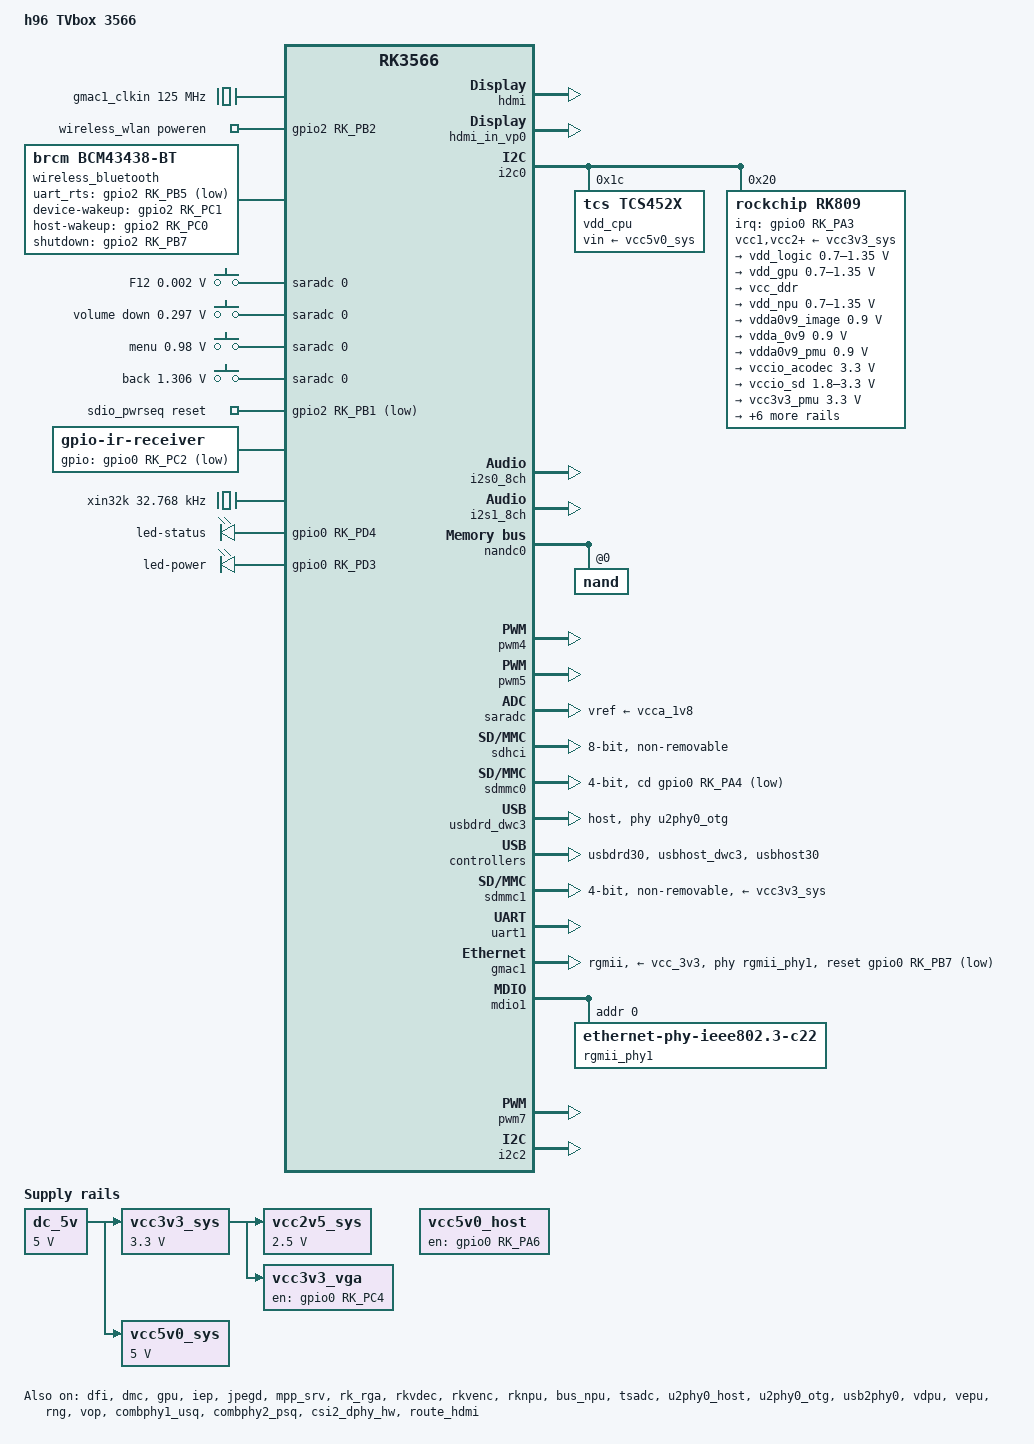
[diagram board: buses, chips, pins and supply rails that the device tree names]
// SPDX-License-Identifier: (GPL-2.0+ OR MIT)
/*
 * Copyright (c) 2020 Rockchip Electronics Co., Ltd.
 *
 */

 /dts-v1/;

#include <dt-bindings/gpio/gpio.h>
#include <dt-bindings/pinctrl/rockchip.h>
#include <dt-bindings/display/rockchip_vop.h>
#include <dt-bindings/gpio/gpio.h>
#include <dt-bindings/pwm/pwm.h>
#include <dt-bindings/pinctrl/rockchip.h>
#include <dt-bindings/input/rk-input.h>
#include <dt-bindings/display/drm_mipi_dsi.h>
#include <dt-bindings/sensor-dev.h>
#include "rk3568.dtsi"

/ {
	model = "h96 TVbox 3566";
	compatible = "h96-TVbox,rk3566", "rockchip,rk3566";

	aliases {
		mmc0 = &sdhci;
		mmc1 = &sdmmc0;
		mmc2 = &sdmmc1;
	};

	gmac1_clkin: external-gmac1-clock {
		compatible = "fixed-clock";
		clock-frequency = <125000000>;
		clock-output-names = "gmac1_clkin";
		#clock-cells = <0>;
	};

	/delete-node/ vcc3v3-lcd0-n;
	/delete-node/ vcc3v3-lcd1-n;

	chosen: chosen {
		bootargs = "earlycon=uart8250,mmio32,0xfe660000 console=ttyFIQ0";
	};

	debug: debug@fd904000 {
		compatible = "rockchip,debug";
		reg = <0x0 0xfd904000 0x0 0x1000>,
			<0x0 0xfd905000 0x0 0x1000>,
			<0x0 0xfd906000 0x0 0x1000>,
			<0x0 0xfd907000 0x0 0x1000>;
	};

	cspmu: cspmu@fd90c000 {
		compatible = "rockchip,cspmu";
		reg = <0x0 0xfd90c000 0x0 0x1000>,
			<0x0 0xfd90d000 0x0 0x1000>,
			<0x0 0xfd90e000 0x0 0x1000>,
			<0x0 0xfd90f000 0x0 0x1000>;
	};

	wireless_wlan: wireless-wlan {
		compatible = "wlan-platdata";
		rockchip,grf = <&grf>;
		clocks = <&rk809 1>;
		clock-names = "ext_clock";
		wifi_chip_type = "ap6398s";
		pinctrl-names = "default";
		WIFI,poweren_gpio = <&gpio2 RK_PB2 GPIO_ACTIVE_HIGH>;
		status = "okay";
	};

	wireless_bluetooth: wireless-bluetooth {
		compatible = "brcm,bcm43438-bt";
		clocks = <&rk809 1>;
		clock-names = "ext_clock";
		//wifi-bt-power-toggle;
		uart_rts_gpios = <&gpio2 RK_PB5 GPIO_ACTIVE_LOW>;
		pinctrl-names = "default", "rts_gpio";
		max-speed = <3000000>;
		pinctrl-0 = <&uart1m0_rtsn &bt_host_wake_l &bt_wake_l &bt_enable_h>;
		pinctrl-1 = <&uart1_rts_gpio>;
		device-wakeup-gpios = <&gpio2 RK_PC1 GPIO_ACTIVE_HIGH>;
		host-wakeup-gpios = <&gpio2 RK_PC0 GPIO_ACTIVE_HIGH>;
		shutdown-gpios = <&gpio2 RK_PB7 GPIO_ACTIVE_HIGH>;
		status = "okay";
	};

	openvfd {
		compatible = "open,vfd";
		dev_name = "openvfd";
		status = "okay";
	};

	bt_sco: bt-sco {
		compatible = "delta,dfbmcs320";
		#sound-dai-cells = <1>;
		status = "disabled";
	};

	bt_sound: bt-sound {
		status = "disabled";
		compatible = "simple-audio-card";
		simple-audio-card,format = "dsp_a";
		simple-audio-card,bitclock-inversion;
		simple-audio-card,mclk-fs = <256>;
		simple-audio-card,name = "rockchip,bt";
		simple-audio-card,cpu {
			sound-dai = <&i2s2_2ch>;
		};
		simple-audio-card,codec {
			sound-dai = <&bt_sco 1>;
		};
	};

	thermal_zones: thermal-zones {
		soc_thermal: soc-thermal {
			polling-delay-passive = <20>; /* milliseconds */
			polling-delay = <1000>; /* milliseconds */
			sustainable-power = <905>; /* milliwatts */

			thermal-sensors = <&tsadc 0>;
			trips {
				threshold: trip-point-0 {
					temperature = <75000>;
					hysteresis = <2000>;
					type = "passive";
				};
				target: trip-point-1 {
					temperature = <85000>;
					hysteresis = <2000>;
					type = "passive";
				};
				soc_crit: soc-crit {
					/* millicelsius */
					temperature = <115000>;
					/* millicelsius */
					hysteresis = <2000>;
					type = "critical";
				};
			};
			cooling-maps {
				map0 {
					trip = <&target>;
					cooling-device = <&cpu0 THERMAL_NO_LIMIT THERMAL_NO_LIMIT>;
					contribution = <1024>;
				};
				map1 {
					trip = <&target>;
					cooling-device = <&gpu THERMAL_NO_LIMIT THERMAL_NO_LIMIT>;
					contribution = <1024>;
				};
			};
		};

		gpu_thermal: gpu-thermal {
			polling-delay-passive = <20>; /* milliseconds */
			polling-delay = <1000>; /* milliseconds */

			thermal-sensors = <&tsadc 1>;
		};
	};

	hdmi_sound: hdmi-sound {
	compatible = "simple-audio-card";
	simple-audio-card,format = "i2s";
	simple-audio-card,mclk-fs = <128>;
	simple-audio-card,name = "rockchip,hdmi";
	status = "okay";
	rockchip,jack-det;

	simple-audio-card,cpu {
			sound-dai = <&i2s0_8ch>;
		};
		simple-audio-card,codec {
			sound-dai = <&hdmi>;
		};
	};

	dc_5v: dc-5v {
		compatible = "regulator-fixed";
		regulator-name = "dc_5v";
		regulator-always-on;
		regulator-boot-on;
		regulator-min-microvolt = <5000000>;
		regulator-max-microvolt = <5000000>;
	};
	

	rk809_sound: rk809-sound {
		status = "okay";
		compatible = "rockchip,multicodecs-card";
		rockchip,card-name = "rockchip-rk809";
		rockchip,format = "i2s";
		rockchip,mclk-fs = <256>;
		rockchip,cpu = <&i2s1_8ch>;
		rockchip,codec = <&rk809_codec>;
	};

	spdif-sound {
		status = "okay";
		compatible = "simple-audio-card";
		simple-audio-card,name = "ROCKCHIP,SPDIF";
		simple-audio-card,cpu {
				sound-dai = <&spdif_8ch>;
		};
		simple-audio-card,codec {
				sound-dai = <&spdif_out>;
		};
	};

	spdif_out: spdif-out {
			status = "okay";
			compatible = "linux,spdif-dit";
			#sound-dai-cells = <0>;
	};

	vcc3v3_sys: vcc3v3-sys {
		compatible = "regulator-fixed";
		regulator-name = "vcc3v3_sys";
		regulator-always-on;
		regulator-boot-on;
		regulator-min-microvolt = <3300000>;
		regulator-max-microvolt = <3300000>;
		vin-supply = <&dc_5v>;
	};

	vcc5v0_sys: vcc5v0-sys {
		compatible = "regulator-fixed";
		regulator-name = "vcc5v0_sys";
		regulator-always-on;
		regulator-boot-on;
		regulator-min-microvolt = <5000000>;
		regulator-max-microvolt = <5000000>;
		vin-supply = <&dc_5v>;
	};

	vcc5v0_host: vcc5v0-host-regulator {
		compatible = "regulator-fixed";
		enable-active-high;
		gpio = <&gpio0 RK_PA6 GPIO_ACTIVE_HIGH>;
		pinctrl-names = "default";
		pinctrl-0 = <&vcc5v0_host_vbus_en>;
		regulator-name = "vcc5v0_host";
		regulator-always-on;
		regulator-boot-on;
	};

	vcc5v0_otg: vcc5v0-otg-regulator {
		compatible = "regulator-fixed";
		enable-active-high;
		gpio = <&gpio0 RK_PA5 GPIO_ACTIVE_HIGH>;
		pinctrl-names = "default";
		pinctrl-0 = <&vcc5v0_otg_en>;
		regulator-name = "vcc5v0_otg";
	};

	adc_keys: adc-keys {
		compatible = "adc-keys";
		io-channels = <&saradc 0>;
		io-channel-names = "buttons";
		keyup-threshold-microvolt = <1800000>;
		poll-interval = <100>;

		recovery-key {
			label = "F12";
			linux,code = <KEY_F12>;
			press-threshold-microvolt = <1750>;
		};

		vol-down-key {
			label = "volume down";
			linux,code = <KEY_VOLUMEDOWN>;
			press-threshold-microvolt = <297500>;
		};

		menu-key {
			label = "menu";
			linux,code = <KEY_MENU>;
			press-threshold-microvolt = <980000>;
		};

		back-key {
			label = "back";
			linux,code = <KEY_BACK>;
			press-threshold-microvolt = <1305500>;
		};
	};

	vcc2v5_sys: vcc2v5-ddr {
		compatible = "regulator-fixed";
		regulator-name = "vcc2v5_sys";
		regulator-always-on;
		regulator-boot-on;
		regulator-min-microvolt = <2500000>;
		regulator-max-microvolt = <2500000>;
		vin-supply = <&vcc3v3_sys>;
	};

	vcc3v3_vga: vcc3v3-vga {
		compatible = "regulator-fixed";
		regulator-name = "vcc3v3_vga";
		regulator-always-on;
		regulator-boot-on;
		gpio = <&gpio0 RK_PC4 GPIO_ACTIVE_HIGH>;
		enable-active-high;
		vin-supply = <&vcc3v3_sys>;
	};

	sdio_pwrseq: sdio-pwrseq {
		compatible = "mmc-pwrseq-simple";
		clocks = <&rk809 1>;
		clock-names = "ext_clock";
		pinctrl-names = "default";
		pinctrl-0 = <&wifi_enable_h>;
		/*
			* On the module itself this is one of these (depending
			* on the actual card populated):
			* - SDIO_RESET_L_WL_REG_ON
			* - PDN (power down when low)
		*/
		post-power-on-delay-ms = <200>;
		reset-gpios = <&gpio2 RK_PB1 GPIO_ACTIVE_LOW>;
		status = "okay";
	};

	ir-receiver {
		compatible = "gpio-ir-receiver";
		gpios = <&gpio0 RK_PC2 GPIO_ACTIVE_LOW>;
		pinctrl-names = "default";
		pinctrl-0 = <&ir_receiver_pin>;
	};

	xin32k: xin32k {
		compatible = "fixed-clock";
		clock-frequency = <32768>;
		clock-output-names = "xin32k";
		#clock-cells = <0>;
	};

	flash_led: flash-led {
		compatible = "led,rgb13h";
		label = "pwm-flash-led";
		led-max-microamp = <20000>;
		flash-max-microamp = <20000>;
		flash-max-timeout-us = <1000000>;
		pwms = <&pwm11 0 25000 0>;
		rockchip,camera-module-index = <1>;
		rockchip,camera-module-facing = "front";
		status = "disabled";
	};

	sd_vcc3v3_power: sd-vcc3v3-power {
		status = "disabled";
		compatible = "regulator-fixed";
		enable-active-high;
		gpio = <&gpio0 RK_PA5 GPIO_ACTIVE_HIGH>;
		pinctrl-names = "default";
		pinctrl-0 = <&sd_vcc3v3_power_en>;
		regulator-name = "sd_vcc3v3_power_en";
		regulator-min-microvolt = <3300000>;
		regulator-max-microvolt = <3300000>;
		regulator-always-on;
		regulator-boot-on;
		regulator-state-mem {
			regulator-on-in-suspend;
		};
	};

	leds {
		compatible = "gpio-leds";

		led_status: led-status {
			label = "led-status";
			gpios = <&gpio0 RK_PD4 GPIO_ACTIVE_HIGH>;
			linux,default-trigger = "heartbeat";
			pinctrl-names = "default";
			pinctrl-0 = <&led_status_enable_h>;
		};

		led_power: led-power {
			label = "led-power";
			gpios = <&gpio0 RK_PD3 GPIO_ACTIVE_HIGH>;
			linux,default-trigger = "default-on";
			pinctrl-names = "default";
			pinctrl-0 = <&led_power_enable_h>;
		};	
	};

	test-power {
		status = "okay";
	};
};

&cpu0 {
	cpu-supply = <&vdd_cpu>;
};

&dfi {
	status = "okay";
};

&dmc {
	center-supply = <&vdd_logic>;
	auto-freq-en = <0>;
	status = "okay";
};

&gpu {
	clock-names = "gpu", "bus";
	interrupt-names = "gpu", "mmu", "job";
	mali-supply = <&vdd_gpu>;
	status = "okay";
};

&gpu_opp_table {
	/delete-node/ opp-200000000;
	/delete-node/ opp-300000000;
	/delete-node/ opp-400000000;
	/delete-node/ opp-600000000;
	/delete-node/ opp-700000000;
	/delete-node/ opp-j-600000000;
	/delete-node/ opp-m-800000000;
};

&cpu0_opp_table {
	/delete-node/ opp-408000000;
	/delete-node/ opp-600000000;
	/delete-node/ opp-816000000;
	/delete-node/ opp-1008000000;
	/delete-node/ opp-1104000000;
	/delete-node/ opp-1416000000;
	/delete-node/ opp-1608000000;
	/delete-node/ opp-j-1008000000;
	/delete-node/ opp-j-1416000000;
	/delete-node/ opp-m-1608000000;
};

&hdmi {
	status = "okay";
};

&hdmi_in_vp0 {
	status = "okay";
};

&hdmi_in_vp1 {
	status = "disabled";
};

&hdmi_sound {
	status = "okay";
	/delete-property/ rockchip,jack-det;
};

&i2c0 {
	status = "okay";

	vdd_cpu: tcs4525@1c {
		compatible = "tcs,tcs452x";
		reg = <0x1c>;
		vin-supply = <&vcc5v0_sys>;
		regulator-compatible = "fan53555-reg";
		regulator-name = "vdd_cpu";
		regulator-min-microvolt = <700000>;
		regulator-max-microvolt = <1200000>;
		regulator-ramp-delay = <2300>;
		fcs,suspend-voltage-selector = <1>;
		regulator-boot-on;
		regulator-always-on;
		regulator-state-mem {
			regulator-on-in-suspend;
		};
	};

	rk809: pmic@20 {
		compatible = "rockchip,rk809";
		reg = <0x20>;
		interrupt-parent = <&gpio0>;
		interrupts = <RK_PA3 IRQ_TYPE_LEVEL_LOW>;
		pinctrl-names = "default";
		pinctrl-0 = <&pmic_int_l>;
		rockchip,system-power-controller;
		wakeup-source;
		#clock-cells = <1>;
		clock-output-names = "rk808-clkout1", "rk808-clkout2";
		not-save-power-en = <1>;

		vcc1-supply = <&vcc3v3_sys>;
		vcc2-supply = <&vcc3v3_sys>;
		vcc3-supply = <&vcc3v3_sys>;
		vcc4-supply = <&vcc3v3_sys>;
		vcc5-supply = <&vcc3v3_sys>;
		vcc6-supply = <&vcc3v3_sys>;
		vcc7-supply = <&vcc3v3_sys>;
		vcc8-supply = <&vcc3v3_sys>;
		vcc9-supply = <&vcc3v3_sys>;

		pwrkey {
			status = "okay";
		};

		pinctrl_rk8xx: pinctrl_rk8xx {
			gpio-controller;
			#gpio-cells = <2>;

			rk817_slppin_null: rk817_slppin_null {
				pins = "gpio_slp";
				function = "pin_fun0";
			};

			rk817_slppin_slp: rk817_slppin_slp {
				pins = "gpio_slp";
				function = "pin_fun1";
			};

			rk817_slppin_pwrdn: rk817_slppin_pwrdn {
				pins = "gpio_slp";
				function = "pin_fun2";
			};

			rk817_slppin_rst: rk817_slppin_rst {
				pins = "gpio_slp";
				function = "pin_fun3";
			};
		};

		regulators {
			vdd_logic: DCDC_REG1 {
				regulator-always-on;
				regulator-boot-on;
				regulator-min-microvolt = <700000>;
				regulator-max-microvolt = <1350000>;
				regulator-init-microvolt = <950000>;
				regulator-ramp-delay = <6001>;
				regulator-initial-mode = <0x2>;
				regulator-name = "vdd_logic";
				regulator-state-mem {
					regulator-off-in-suspend;
				};
			};

			vdd_gpu: DCDC_REG2 {
				regulator-always-on;
				regulator-boot-on;
				regulator-min-microvolt = <700000>;
				regulator-max-microvolt = <1350000>;
				regulator-init-microvolt = <900000>;
				regulator-ramp-delay = <6001>;
				regulator-initial-mode = <0x2>;
				regulator-name = "vdd_gpu";
				regulator-state-mem {
					regulator-off-in-suspend;
				};
			};

			vcc_ddr: DCDC_REG6 {
				regulator-always-on;
				regulator-boot-on;
				regulator-initial-mode = <0x2>;
				regulator-name = "vcc_ddr";
				regulator-state-mem {
					regulator-off-in-suspend;
				};
			};

			vdd_npu: DCDC_REG4 {
				regulator-always-on;
				regulator-boot-on;
				regulator-min-microvolt = <700000>;
				regulator-max-microvolt = <1350000>;
				regulator-init-microvolt = <900000>;
				regulator-ramp-delay = <6001>;
				regulator-initial-mode = <0x2>;
				regulator-name = "vdd_npu";
				regulator-state-mem {
					regulator-off-in-suspend;
				};
			};

			vdda0v9_image: LDO_REG1 {
				regulator-boot-on;
				regulator-always-on;
				regulator-min-microvolt = <900000>;
				regulator-max-microvolt = <900000>;
				regulator-name = "vdda0v9_image";
				regulator-state-mem {
					regulator-off-in-suspend;
				};
			};

			vdda_0v9: LDO_REG2 {
				regulator-always-on;
				regulator-boot-on;
				regulator-min-microvolt = <900000>;
				regulator-max-microvolt = <900000>;
				regulator-name = "vdda_0v9";
				regulator-state-mem {
					regulator-off-in-suspend;
				};
			};

			vdda0v9_pmu: LDO_REG3 {
				regulator-always-on;
				regulator-boot-on;
				regulator-min-microvolt = <900000>;
				regulator-max-microvolt = <900000>;
				regulator-name = "vdda0v9_pmu";
				regulator-state-mem {
					regulator-off-in-suspend;
					regulator-suspend-microvolt = <900000>;
				};
			};

			vccio_acodec: LDO_REG4 {
				regulator-always-on;
				regulator-boot-on;
				regulator-min-microvolt = <3300000>;
				regulator-max-microvolt = <3300000>;
				regulator-name = "vccio_acodec";
				regulator-state-mem {
					rregulator-off-in-suspend;
				};
			};

			vccio_sd: LDO_REG5 {
				regulator-always-on;
				regulator-boot-on;
				regulator-min-microvolt = <1800000>;
				regulator-max-microvolt = <3300000>;
				regulator-name = "vccio_sd";
				regulator-state-mem {
					regulator-off-in-suspend;
				};
			};

			vcc3v3_pmu: LDO_REG6 {
				regulator-always-on;
				regulator-boot-on;
				regulator-min-microvolt = <3300000>;
				regulator-max-microvolt = <3300000>;
				regulator-name = "vcc3v3_pmu";
				regulator-state-mem {
					regulator-off-in-suspend;
					regulator-suspend-microvolt = <3300000>;
				};
			};

			vcca_1v8: LDO_REG7 {
				regulator-always-on;
				regulator-boot-on;
				regulator-min-microvolt = <1800000>;
				regulator-max-microvolt = <1800000>;
				regulator-name = "vcca_1v8";
				regulator-state-mem {
					regulator-off-in-suspend;
				};
			};

			vcca1v8_pmu: LDO_REG8 {
				regulator-always-on;
				regulator-boot-on;
				regulator-min-microvolt = <1800000>;
				regulator-max-microvolt = <1800000>;
				regulator-name = "vcca1v8_pmu";
				regulator-state-mem {
					regulator-off-in-suspend;
					regulator-suspend-microvolt = <1800000>;
				};
			};

			vcca1v8_image: LDO_REG9 {
				regulator-always-on;
				regulator-boot-on;
				regulator-min-microvolt = <1800000>;
				regulator-max-microvolt = <1800000>;
				regulator-name = "vcca1v8_image";
				regulator-state-mem {
					regulator-off-in-suspend;
				};
			};

			vcc_1v8: DCDC_REG5 {
				regulator-always-on;
				regulator-boot-on;
				regulator-min-microvolt = <1800000>;
				regulator-max-microvolt = <1800000>;
				regulator-name = "vcc_1v8";
				regulator-state-mem {
					regulator-off-in-suspend;
				};
			};

			vcc_3v3: SWITCH_REG1 {
				regulator-always-on;
				regulator-boot-on;
				regulator-name = "vcc_3v3";
				regulator-state-mem {
					regulator-off-in-suspend;
				};
			};

			vcc3v3_sd: SWITCH_REG2 {
				regulator-always-on;
				regulator-boot-on;
				regulator-name = "vcc3v3_sd";
				regulator-state-mem {
					regulator-off-in-suspend;
				};
			};
		};

		rk809_codec: codec {
			#sound-dai-cells = <0>;
			compatible = "rockchip,rk809-codec", "rockchip,rk817-codec";
			clocks = <&cru I2S1_MCLKOUT>;
			clock-names = "mclk";
			assigned-clocks = <&cru I2S1_MCLKOUT>, <&cru I2S1_MCLK_TX_IOE>;
			assigned-clock-rates = <12288000>;
			assigned-clock-parents = <&cru I2S1_MCLKOUT_TX>, <&cru I2S1_MCLKOUT_TX>;
			pinctrl-names = "default","spk_gpio";
			pinctrl-0 = <&i2s1m0_mclk>;
			hp-volume = <20>;
			spk-volume = <3>;
			mic-in-differential;
			capture-volume = <0>;
			io-channels = <&saradc 4>;
			hp-det-adc-value = <1000>;
			status = "okay";
		};
	};
};

&i2s0_8ch {
	status = "okay";
};

&i2s1_8ch {
	status = "okay";
	rockchip,clk-trcm = <1>;
	pinctrl-names = "default";
	pinctrl-0 = <&i2s1m0_sclktx
				&i2s1m0_lrcktx
				&i2s1m0_sdi0
				&i2s1m0_sdo0>;
};

&iep {
	status = "okay";
};

&iep_mmu {
	status = "okay";
};

&jpegd {
	status = "okay";
};

&jpegd_mmu {
	status = "okay";
};

&mpp_srv {
	status = "okay";
};

&nandc0 {
	#address-cells = <1>;
	#size-cells = <0>;
	status = "okay";

	nand@0 {
		reg = <0>;
		nand-bus-width = <8>;
		nand-ecc-mode = "hw";
		nand-ecc-strength = <16>;
		nand-ecc-step-size = <1024>;
	};
};

&pmu_io_domains {
	pmuio1-supply = <&vcc3v3_pmu>;
	pmuio2-supply = <&vcc3v3_pmu>;
	vccio1-supply = <&vccio_acodec>;
	vccio2-supply = <&vcc_1v8>;
	vccio3-supply = <&vccio_sd>;
	vccio4-supply = <&vcc_1v8>;
	vccio5-supply = <&vcc_3v3>;
	vccio6-supply = <&vcc_1v8>;
	vccio7-supply = <&vcc_3v3>;
	status = "okay";
};

&pwm4 {
	status = "okay";
};

&pwm5 {
	status = "okay";
};

&rk_rga {
	status = "okay";
};

&rk_rga {
	status = "okay";
	rga-supply = <&vdd_logic>;
};

&rkvdec {
	rockchip,disable-auto-freq;
	assigned-clock-rates = <396000000>, <396000000>, <396000000>, <600000000>;
	status = "okay";
};

&rkvdec_mmu {
	status = "okay";
};

&rockchip_suspend {
	status = "okay";
};

&rkvenc {
	venc-supply = <&vdd_logic>;
	status = "okay";
};

&rkvenc_mmu {
	status = "disabled";
};

&rknpu {
	rknpu-supply = <&vdd_npu>;
	mem-supply = <&vdd_logic>;
	status = "okay";
};

&rknpu_mmu {
	status = "okay";
};

&bus_npu {
	bus-supply = <&vdd_logic>;
	pvtm-supply = <&vdd_cpu>;
	status = "okay";
};

&saradc {
	status = "okay";
	vref-supply = <&vcca_1v8>;
};

&sdhci {
	bus-width = <8>;
	no-sdio;
	no-sd;
	non-removable;
	max-frequency = <200000000>;
	full-pwr-cycle-in-suspend;
	status = "okay";
};

&sdmmc0 {
	max-frequency = <150000000>;
	no-sdio;
	no-mmc;
	cd-gpios = <&gpio0 RK_PA4 GPIO_ACTIVE_LOW>;
	bus-width = <4>;
	cap-mmc-highspeed;
	cap-sd-highspeed;
	disable-wp;
	sd-uhs-sdr104;
	//vmmc-supply = <&vcc3v3_sd>;
	vqmmc-supply = <&vccio_sd>;
	pinctrl-names = "default";
	pinctrl-0 = <&sdmmc0_bus4 &sdmmc0_clk &sdmmc0_cmd &sdmmc0_det>;
	status = "okay";
};

&spdif_8ch {
	status = "disabled";
};

&spdif_out {
	status = "disabled";
};

&tsadc {
	status = "okay";
};

&u2phy0_host {
	phy-supply = <&vcc5v0_host>;
	status = "okay";
};

&u2phy0_otg {
	phy-supply = <&vcc5v0_host>;
	status = "okay";
};

&u2phy1_host {
	status = "disabled";
};

&u2phy1_otg {
	phy-supply = <&vcc5v0_host>;
	status = "disabled";
};

&usb2phy0 {
	status = "okay";
};

&usb2phy1 {
	status = "disabled";
};

&usb_host0_ehci {
	status = "disabled";
};

&usb_host0_ohci {
	status = "disabled";
};

&usb_host1_ehci {
	status = "disabled";
};

&usb_host1_ohci {
	status = "disabled";
};

&usbdrd_dwc3 {
	dr_mode = "host";
	extcon = <&usb2phy0>;
	status = "okay";
};

&usbdrd30 {
	status = "okay";
};

&usbhost_dwc3 {
	status = "okay";
};

&usbhost30 {
	status = "okay";
};

&vad {
	rockchip,audio-src = <&i2s1_8ch>;
	rockchip,buffer-time-ms = <128>;
	rockchip,det-channel = <0>;
	rockchip,mode = <0>;
};

&vdpu {
	status = "okay";
	vpu-supply = <&vdd_logic>;
};

&vdpu_mmu {
	status = "okay";
};

&vepu {
	status = "okay";
};

&vepu_mmu {
	status = "okay";
};

&rng {
	status = "okay";
};

&vop {
	status = "okay";
	assigned-clocks = <&cru DCLK_VOP0>, <&cru DCLK_VOP1>;
	assigned-clock-parents = <&pmucru PLL_HPLL>, <&cru PLL_VPLL>;
	vop-supply = <&vdd_logic>;
};

&vop_mmu {
	status = "okay";
};

&pinctrl {

	pmic {
		pmic_int_l: pmic-int-l {
			rockchip,pins = <0 RK_PA3 RK_FUNC_GPIO &pcfg_pull_up>;
		};
	};

	sdio-pwrseq {
		wifi_enable_h: wifi-enable-h {
			rockchip,pins = <2 RK_PB1 RK_FUNC_GPIO &pcfg_pull_none>;
		};
	};

	usb {
		vcc5v0_otg_en: vcc5v0-otg-en {
			rockchip,pins = <0 RK_PA5 RK_FUNC_GPIO &pcfg_pull_none>;
		};

		vcc5v0_host_vbus_en: vcc5v0-host-en {
			rockchip,pins = <0 RK_PA6 RK_FUNC_GPIO &pcfg_pull_none>;
		};
	};

	wireless-wlan {
		wifi_host_wake_irq: wifi-host-wake-irq {
			rockchip,pins = <2 RK_PB2 RK_FUNC_GPIO &pcfg_pull_none>;
		};
	};

	wireless-bluetooth {
		uart1_rts_gpio: uart1-rts-gpio {
			rockchip,pins = <2  RK_PB5 RK_FUNC_GPIO &pcfg_pull_none>;
		};

		bt_enable_h: bt-enable-h {
			rockchip,pins = <0 RK_PC1 RK_FUNC_GPIO &pcfg_pull_none>;
		};

		bt_host_wake_l: bt-host-wake-l {
			rockchip,pins = <0 RK_PB3 RK_FUNC_GPIO &pcfg_pull_down>;
		};

		bt_wake_l: bt-wake-l {
			rockchip,pins = <0 RK_PB4 RK_FUNC_GPIO &pcfg_pull_none>;
		};
	};

	sd {
		sd_vcc3v3_power_en: sd-vcc3v3-power-en {
			rockchip,pins = <0 RK_PA5 RK_FUNC_GPIO &pcfg_pull_none>;
		};
	};

	ir-receiver {
		ir_receiver_pin: ir-receiver-pin {
			rockchip,pins = <0 RK_PC2 RK_FUNC_GPIO &pcfg_pull_none>;
		};
	};

	leds {
		led_status_enable_h: led-status-enable-h {
			rockchip,pins = <0 RK_PD4 RK_FUNC_GPIO &pcfg_pull_none>;
		};

		led_power_enable_h: led_power_enable_h {
			rockchip,pins = <0 RK_PD3 RK_FUNC_GPIO &pcfg_pull_none>;
		};
	};
};

&combphy1_usq {
	status = "okay";
};

&combphy2_psq {
	status = "okay";
};

&csi2_dphy_hw {
	status = "okay";
};

&rk809_codec {
	pinctrl-0 = <&i2s1m0_mclk>;
};

&rkisp {
	status = "disabled";
};

&rkisp_mmu {
	status = "disabled";
};

&rkisp {
	rockchip,iq-feature = /bits/ 64 <0x1BFBF7FE67FF>;
	vi-supply = <&vdd_logic>;
};

&usbdrd_dwc3 {
	phys = <&u2phy0_otg>;
	phy-names = "usb2-phy";
	extcon = <&usb2phy0>;
	maximum-speed = "high-speed";
	snps,dis_u2_susphy_quirk;
	snps,usb2-lpm-disable;
};

&vcc5v0_otg {
	status = "disabled";
};

/* WiFi config */
&sdmmc1 {
	#address-cells = <1>;
	#size-cells = <0>;
	bus-width = <4>;
	cap-sd-highspeed;
	cap-sdio-irq;
	disable-wp;
	keep-power-in-suspend;
	mmc-pwrseq = <&sdio_pwrseq>;
	non-removable;
	pinctrl-names = "default";
	pinctrl-0 = <&sdmmc1_bus4 &sdmmc1_cmd &sdmmc1_clk>;
	sd-uhs-sdr50;
	supports-sdio;
	status = "okay";
	vmmc-supply = <&vcc3v3_sys>;
	vqmmc-supply = <&vcca1v8_pmu>;
};

// iomux with GPIO2_B2(WIFI,host_wake_irq)
&uart8 {
	status = "disabled";
};

/* BT config */
&uart1 {
	dma-names = "tx", "rx";
	pinctrl-names = "default";
	pinctrl-0 = <&uart1m0_xfer &uart1m0_ctsn>;
	status = "okay";
};

&gmac1 {
	assigned-clocks = <&cru SCLK_GMAC1_RX_TX>, <&cru SCLK_GMAC1_RGMII_SPEED>, <&cru SCLK_GMAC1>;
	assigned-clock-parents = <&cru SCLK_GMAC1_RGMII_SPEED>, <&cru SCLK_GMAC1>, <&gmac1_clkin>;
	clock_in_out = "input";
	phy-mode = "rgmii";
	phy-supply = <&vcc_3v3>;
	pinctrl-names = "default";
	pinctrl-0 = <&gmac1m0_miim
				&gmac1m0_tx_bus2
				&gmac1m0_rx_bus2
				&gmac1m0_rgmii_clk
				&gmac1m0_clkinout
				&gmac1m0_rgmii_bus>;
	snps,reset-gpio = <&gpio0 RK_PB7 GPIO_ACTIVE_LOW>;
	snps,reset-active-low;
	/* Reset time is 20ms, 100ms for rtl8211f */
	snps,reset-delays-us = <0 20000 100000>;
	tx_delay = <0x4f>;
	rx_delay = <0x24>;
	phy-handle = <&rgmii_phy1>;
	status = "okay";
};

&mdio1 {
	rgmii_phy1: ethernet-phy@0 {
		compatible = "ethernet-phy-ieee802.3-c22";
		reg = <0x0>;
	};
};

&rk809_codec {
	io-channels = <&saradc 3>;
	hp-det-adc-value = <941>;
	hp_adc_drift_scope = <20>;
	board-spk-from-hp;
};

&lpddr4_params {
	/* freq info, freq_0 is final frequency, unit: MHz */
	freq_0 = <1056>;
};

&lpddr4x_params {
	/* freq info, freq_0 is final frequency, unit: MHz */
	freq_0 = <1056>;
};

&combphy1_usq {
	status = "okay";
};

&combphy2_psq {
	status = "okay";
};

&pwm7 {
	status = "okay";
};

&i2c2 {
	status = "okay";
};

&csi2_dphy0{
	status="disabled";
};

&csi2_dphy2{
    status = "disabled";
};

&csi2_dphy1 {
	status = "disabled";
};

&route_hdmi {
	status = "okay";
	connect = <&vp0_out_hdmi>;
};
